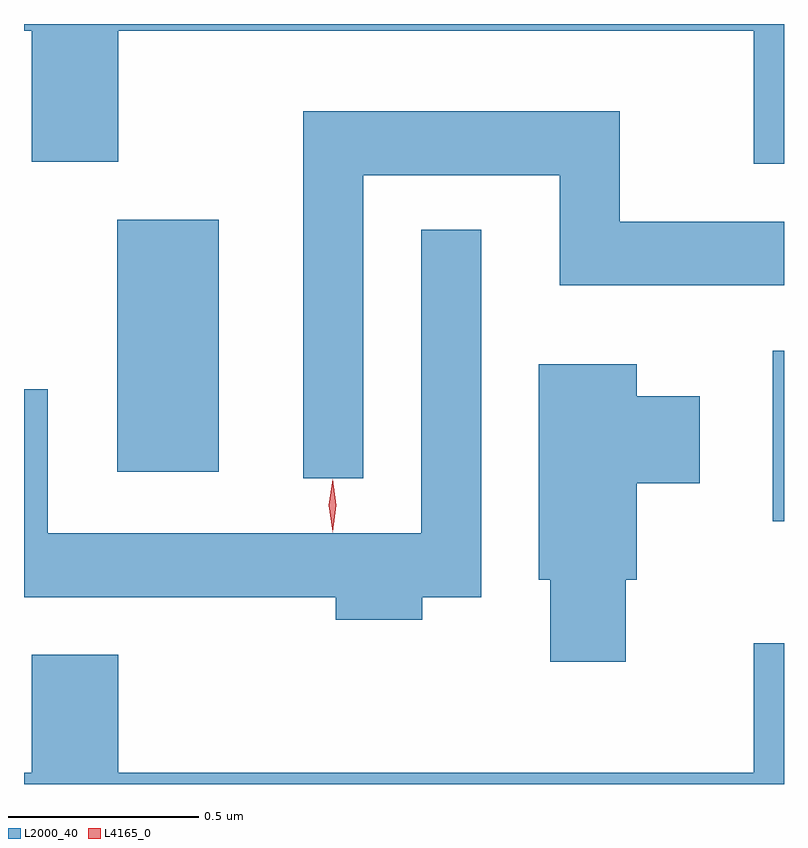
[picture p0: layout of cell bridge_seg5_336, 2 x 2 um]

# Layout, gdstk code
import gdstk
lib = gdstk.Library(unit=1e-6, precision=1e-09)
def R(c, l, rs):  # rectangles x0, y0, x1, y1
    for r in rs: c.add(gdstk.rectangle(r[:2], r[2:], *l))
def P(c, l, *ps):  # polygons
    for p in ps: c.add(gdstk.Polygon(p, *l))
L2000_40 = (2000, 40)
L4165_0 = (4165, 0)

bridge_seg5_336 = lib.new_cell('bridge_seg5_336')
R(bridge_seg5_336, L2000_40, [(665.431,1499.906,665.461,1500.354), (663.706,1500.036,663.974,1500.699)])
P(bridge_seg5_336, L2000_40, [(665.461,1501.214),(663.461,1501.214),(663.461,1501.196),(663.481,1501.196),(663.481,1500.851),(663.709,1500.851),(663.709,1501.196),(665.381,1501.196),(665.381,1500.846),(665.461,1500.846)],
  [(664.354,1500.816),(664.871,1500.816),(664.871,1500.526),(665.461,1500.526),(665.461,1500.694),(665.029,1500.694),(665.029,1500.984),(664.196,1500.984),(664.196,1500.018),(664.354,1500.018)],
  [(664.509,1499.706),(664.664,1499.706),(664.664,1500.673),(664.506,1500.673),(664.506,1499.874),(663.524,1499.874),(663.524,1500.253),(663.461,1500.253),(663.461,1499.706),(664.281,1499.706),(664.281,1499.646),(664.509,1499.646)],
  [(665.044,1499.751),(665.074,1499.751),(665.074,1500.006),(665.239,1500.006),(665.239,1500.234),(665.074,1500.234),(665.074,1500.319),(664.816,1500.319),(664.816,1499.751),(664.846,1499.751),(664.846,1499.536),(665.044,1499.536)],
  [(665.461,1499.584),(665.381,1499.584),(665.381,1499.244),(663.709,1499.244),(663.709,1499.554),(663.481,1499.554),(663.481,1499.244),(663.461,1499.244),(663.461,1499.214),(665.461,1499.214)])
P(bridge_seg5_336, L4165_0, [(664.273,1499.877),(664.273,1499.878),(664.263,1499.947),(664.273,1500.016),(664.273,1500.016),(664.274,1500.016),(664.283,1499.947),(664.274,1499.878)])

lib.write_gds('bridge_seg5_336.gds')
